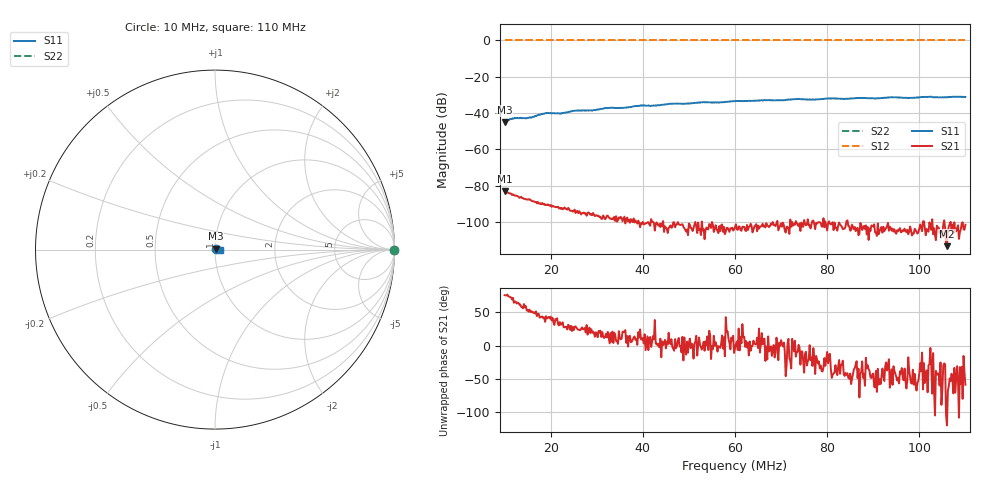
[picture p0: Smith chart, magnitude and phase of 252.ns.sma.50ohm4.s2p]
! Anritsu VNA Master:  Model: MS2036C/10/77
! SN:  1601066
! /card0/usr/50ohm4.s2p
! Existing Calibration Information:
! TYPE:  Current Settings,  Active Cal Settings
! TIME:  12/20/2017 04:19:34 PM,  12/20/2017 04:05:21 PM
! INTERNAL TEMP:  41.8 C,  43.3 C
! # POINTS:  501,  501
! START FREQ:  10.000 MHz,  10.000 MHz
! STOP FREQ:  110.000 MHz,  110.000 MHz
! SOURCE POWER:  High,  High
! IFBW:  100 Hz,  100 Hz
! AVG FACTOR:  1 ,  1
! REF PLANE 1:  0 mm,  0 mm
! REF PLANE 2:  0 mm,  0 mm
! CAL TYPE:  Full S11,  Full S11
! CAL METHOD:  SOLT,  SOLT
! CAL LINE TYPE:  Coax,  Coax
! DUT PORT 1:  K-Conn(F),  K-Conn(F)
! DUT PORT 2:  K-Conn(F),  K-Conn(F)
! CAL STATUS:  OK: Accuracy High,  --
# GHZ S DB R 50.0
! FREQ.GHZ  S11DB  S11A  S21DB  S21A  S12DB  S12A  S22DB  S22A
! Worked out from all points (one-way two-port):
!   501 points, 10 MHz to 110 MHz, reference 50 ohm
!   highest |S21| = -82.93 dB at 10 MHz (marker M1); lowest = -113.3 dB at 106 MHz (marker M2)
!   lowest |S11| = -45.0 dB at 10 MHz (marker M3), VSWR 1.01, Z = 50.3 + j0.463 ohm
!   |S11| at or under -10 dB: start of sweep to end of sweep
!   |S22| runs from 0.0 to 0.0 dB; largest |S21 - S12| = 1
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0.01  -45.02 55.0  -82.93 75.3  0.00 0.0  0.00 0.0
0.012  -42.98 60.9  -85.11 64.0  0.00 0.0  0.00 0.0
0.0156  -42.46 58.2  -87.72 50.2  0.00 0.0  0.00 0.0
0.019  -40.05 57.1  -90.42 44.0  0.00 0.0  0.00 0.0
0.0222  -40.36 57.3  -92.71 31.1  0.00 0.0  0.00 0.0
0.025  -38.71 53.1  -93.68 23.1  0.00 0.0  0.00 0.0
0.0268  -38.54 55.0  -95.15 27.2  0.00 0.0  0.00 0.0
0.0294  -38.36 50.8  -96.01 18.5  0.00 0.0  0.00 0.0
0.0322  -37.20 48.9  -96.49 12.3  0.00 0.0  0.00 0.0
0.036  -36.99 46.4  -97.01 20.9  0.00 0.0  0.00 0.0
0.0398  -35.89 44.2  -101.00 9.0  0.00 0.0  0.00 0.0
0.0434  -35.67 40.0  -101.99 2.5  0.00 0.0  0.00 0.0
0.0462  -34.83 39.5  -103.11 9.5  0.00 0.0  0.00 0.0
0.0568  -34.10 32.6  -104.99 -3.4  0.00 0.0  0.00 0.0
0.06  -33.43 31.2  -102.76 -3.9  0.00 0.0  0.00 0.0
0.0702  -32.85 24.4  -102.58 2.5  0.00 0.0  0.00 0.0
0.0736  -32.33 23.0  -101.54 -9.4  0.00 0.0  0.00 0.0
0.0768  -32.53 21.1  -99.35 -30.4  0.00 0.0  0.00 0.0
0.0802  -31.96 17.2  -100.54 -26.3  0.00 0.0  0.00 0.0
0.0934  -31.41 6.8  -104.76 -20.4  0.00 0.0  0.00 0.0
0.106  -31.26 -2.4  -113.27 -119.4  0.00 0.0  0.00 0.0
0.11  -31.12 -3.0  -101.48 -58.6  0.00 0.0  0.00 0.0
